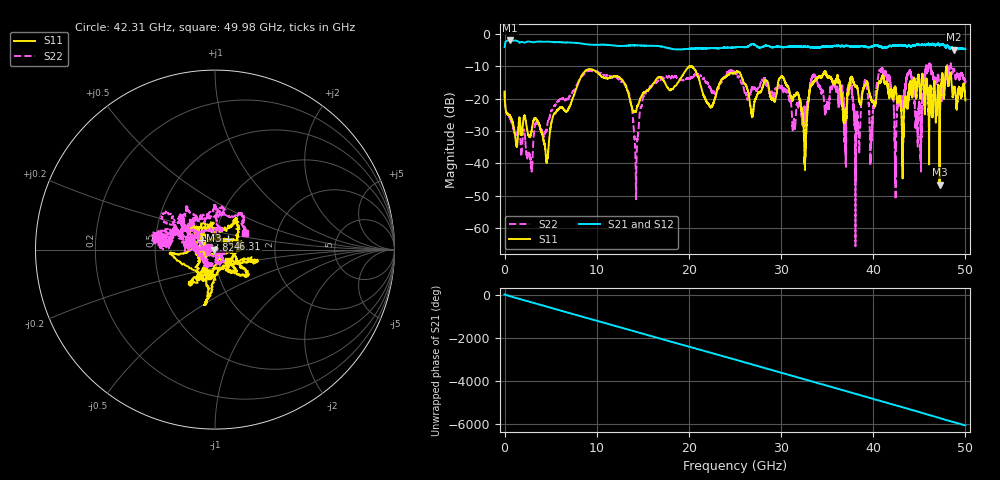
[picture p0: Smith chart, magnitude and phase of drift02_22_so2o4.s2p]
!Created with skrf (http://scikit-rf.org).
# Hz S RI R 50.0
!freq ReS11 ImS11 ReS21 ImS21 ReS12 ImS12 ReS22 ImS22
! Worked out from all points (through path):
!   10001 points, 300 kHz to 50 GHz, reference 50 ohm
!   highest |S21| = -1.99 dB at 585.3 MHz (marker M1); lowest = -4.9 dB at 48.77 GHz (marker M2)
!   group delay of S21, straight-line fit = 337 ps
!   lowest |S11| = -46.6 dB at 47.2 GHz (marker M3), VSWR 1.01, Z = 49.6 - j0.201 ohm
!   |S11| at or under -10 dB: start of sweep to 20.06 GHz; 20.20863 GHz to 20.22016 GHz (11.53 MHz wide, 0.057 % of centre); 20.24 GHz to end of sweep (the widest 3 of 4)
!   |S22| runs from -65.7 to -8.8 dB; largest |S21 - S12| = 0.033
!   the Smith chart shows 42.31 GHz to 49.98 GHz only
!   S11 on the Smith chart (normalised r, x): 42.31 GHz: 0.90, -0.26; 43.82 GHz: 0.86, +0.10; 46.31 GHz: 1.15, +0.14; 49.98 GHz: 1.15, -0.15
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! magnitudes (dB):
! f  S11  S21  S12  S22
! 300 kHz  -17.8  -4.0  -4.0  -17.5
! 585.3 MHz  -25.2  -2.0  -2.0  -26.0
! 4.565 GHz  -39.9  -2.4  -2.4  -29.4
! 8.335 GHz  -13.0  -2.9  -2.9  -13.2
! 13.01 GHz  -15.3  -3.7  -3.7  -15.6
! 14.28 GHz  -23.8  -3.5  -3.5  -47.9
! 16.67 GHz  -13.4  -3.7  -3.7  -14.5
! 25 GHz  -12.0  -4.1  -4.1  -12.1
! 30.18 GHz  -13.4  -4.1  -4.1  -17.0
! 32.56 GHz  -40.4  -3.9  -3.9  -25.0
! 33.34 GHz  -15.9  -4.1  -4.0  -13.7
! 37.5 GHz  -14.4  -3.9  -3.9  -16.4
! 38.29 GHz  -16.8  -3.9  -3.9  -24.5
! 41.67 GHz  -18.4  -3.8  -3.9  -12.6
! 42.31 GHz  -16.8  -3.6  -3.6  -28.2
! 43.82 GHz  -20.8  -3.6  -3.7  -12.4
! 44.99 GHz  -14.6  -3.4  -3.3  -21.7
! 46.31 GHz  -20.6  -3.2  -3.2  -11.8
! 47.2 GHz  -46.6  -3.5  -3.5  -17.0
! 48.77 GHz  -17.1  -4.9  -4.8  -10.9
! 49.98 GHz  -20.1  -4.6  -4.6  -14.4
! 50 GHz  -20.6  -4.6  -4.6  -15.0
